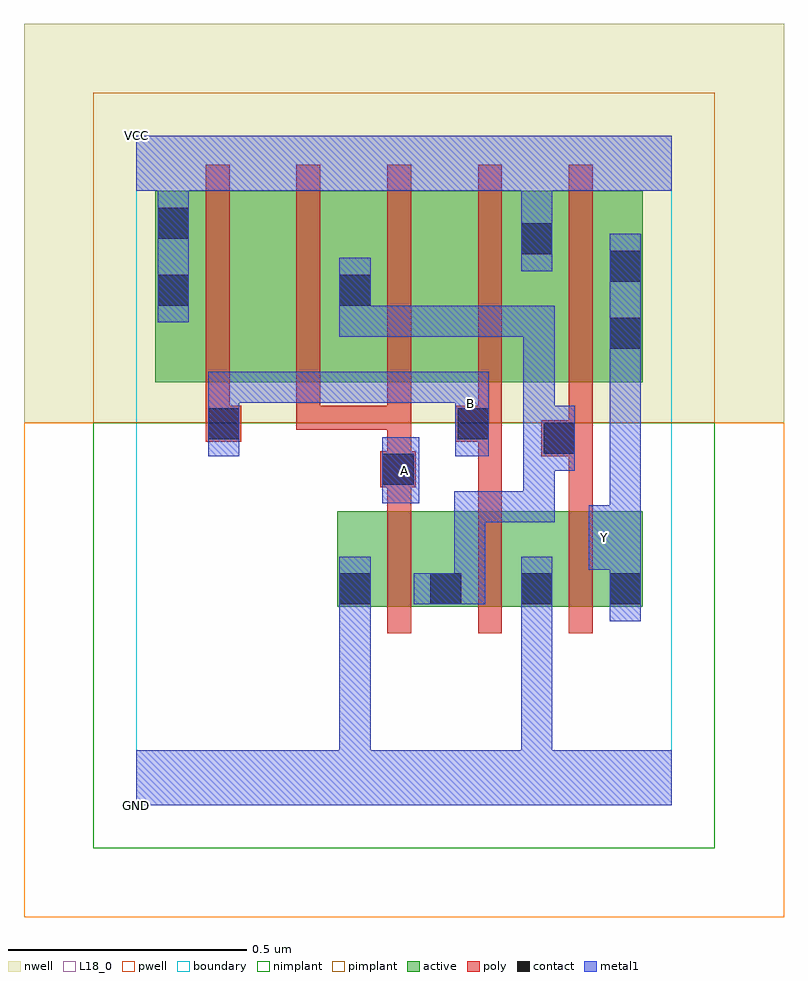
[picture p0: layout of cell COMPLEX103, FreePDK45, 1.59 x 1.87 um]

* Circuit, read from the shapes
.subckt COMPLEX103 A B GND VCC Y
M1 n1 A GND VSUBS nfet w=0.2u l=0.05u
M2 GND B n1 VSUBS nfet w=0.2u l=0.05u
M3 Y n1 GND VSUBS nfet w=0.2u l=0.05u
M4 n2 B VCC n3 pfet w=0.4u l=0.05u
M5 n1 A n2 n3 pfet w=0.4u l=0.05u
M6 n4 A n1 n3 pfet w=0.4u l=0.05u
M7 VCC B n4 n3 pfet w=0.4u l=0.05u
M8 Y n1 VCC n3 pfet w=0.4u l=0.05u
.ends

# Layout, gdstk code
import gdstk
lib = gdstk.Library(unit=1e-6, precision=1e-09)
def R(c, l, rs):  # rectangles x0, y0, x1, y1
    for r in rs: c.add(gdstk.rectangle(r[:2], r[2:], *l))
def A(c, l, x, y, w, h, nx, ny, dx, dy):  # array of equal rectangles
    R(c, l, [(x+i*dx, y+j*dy, x+i*dx+w, y+j*dy+h) for i in range(nx) for j in range(ny)])
active = (1, 0)
pwell = (2, 0)
nwell = (3, 0)
nimplant = (4, 0)
pimplant = (5, 0)
poly = (9, 0)
contact = (10, 0)
metal1 = (11, 0)
L18_0 = (18, 0)
boundary = (235, 0)

complex103 = lib.new_cell('COMPLEX103')
R(complex103, active, [(0.42,0.415,0.495,0.615), (0.42,0.415,0.685,0.615), (0.61,0.415,0.685,0.49), (0.61,0.415,0.875,0.615), (0.8,0.415,1.06,0.615), (0.8,0.415,0.875,0.49), (0.985,0.415,1.06,0.615), (0.04,0.885,0.265,1.285), (0.04,0.885,0.115,1.255), (0.265,0.885,0.495,1.285), (0.42,0.885,0.645,1.285), (0.645,0.885,0.875,1.285), (0.8,0.885,1.06,1.285), (0.985,0.885,1.06,1.2), (0.42,0.907,0.495,1.2), (0.8,0.907,0.875,1.255)])
R(complex103, pwell, [(-0.235,-0.235,1.355,0.8)])
R(complex103, nwell, [(-0.235,0.8,1.355,1.635)])
R(complex103, nimplant, [(-0.09,-0.09,1.21,0.8)])
R(complex103, pimplant, [(-0.09,0.8,1.21,1.49)])
A(complex103, poly, 0.525, 0.36, 0.05, 0.31, 3, 1, 0.19, 0)
A(complex103, poly, 0.145, 0.785, 0.05, 0.095, 4, 1, 0.19, 0)
A(complex103, poly, 0.145, 0.83, 0.05, 0.51, 5, 1, 0.19, 0)
R(complex103, poly, [(0.525,0.62,0.575,0.715), (0.715,0.62,0.765,0.81), (0.905,0.62,0.955,0.78), (0.51,0.665,0.585,0.74), (0.525,0.69,0.575,0.835), (0.847,0.73,0.955,0.805), (0.905,0.73,0.955,0.78), (0.905,0.73,0.955,0.78), (0.905,0.755,0.955,0.88), (0.145,0.76,0.22,0.835), (0.667,0.76,0.765,0.835), (0.715,0.76,0.765,0.81), (0.715,0.76,0.765,0.81), (0.335,0.785,0.385,0.835), (0.335,0.785,0.575,0.835), (0.525,0.785,0.575,0.835), (0.525,0.785,0.575,0.835), (0.525,0.785,0.575,0.835)])
A(complex103, contact, 0.425, 0.42, 0.065, 0.065, 3, 1, 0.19, 0)
R(complex103, contact, [(0.99,0.42,1.055,0.485), (0.515,0.67,0.58,0.735), (0.852,0.735,0.917,0.8), (0.15,0.765,0.215,0.83), (0.672,0.765,0.737,0.83), (0.99,0.955,1.055,1.02), (0.045,1.045,0.11,1.11), (0.425,1.045,0.49,1.11), (0.99,1.095,1.055,1.16), (0.805,1.152,0.87,1.217), (0.045,1.185,0.11,1.25)])
R(complex103, metal1, [(0,0,1.12,0.115), (0.425,0.05,0.49,0.115), (0.425,0.05,0.49,0.115), (0.425,0.05,0.49,0.115), (0.425,0.05,0.49,0.115), (0.425,0.05,0.49,0.115), (0.425,0.05,0.49,0.115), (0.425,0.05,0.49,0.45), (0.805,0.05,0.87,0.45), (0.425,0.385,0.49,0.52), (0.805,0.385,0.87,0.45), (0.805,0.385,0.87,0.45), (0.805,0.385,0.87,0.45), (0.805,0.385,0.87,0.45), (0.805,0.385,0.87,0.45), (0.805,0.385,0.87,0.45), (0.805,0.385,0.87,0.52), (0.99,0.385,1.055,0.52), (0.58,0.42,0.73,0.485), (0.665,0.42,0.73,0.657), (0.99,0.455,1.055,0.557), (0.947,0.492,1.055,0.627), (0.99,0.562,1.055,0.985), (0.665,0.592,0.73,0.657), (0.665,0.592,0.73,0.657), (0.665,0.592,0.73,0.657), (0.665,0.592,0.875,0.657), (0.81,0.592,0.875,0.765), (0.515,0.632,0.592,0.77), (0.81,0.7,0.875,0.765), (0.81,0.7,0.875,0.765), (0.81,0.7,0.917,0.765), (0.81,0.7,0.875,1.045), (0.852,0.7,0.917,0.835), (0.15,0.73,0.215,0.865), (0.667,0.73,0.737,0.907), (0.15,0.8,0.215,0.865), (0.15,0.8,0.215,0.907), (0.15,0.842,0.352,0.907), (0.287,0.842,0.352,0.907), (0.287,0.842,0.352,0.907), (0.287,0.842,0.352,0.907), (0.287,0.842,0.49,0.907), (0.425,0.842,0.49,0.907), (0.425,0.842,0.732,0.907), (0.667,0.842,0.732,0.907), (0.667,0.842,0.732,0.907), (0.99,0.92,1.055,0.985), (0.99,0.92,1.055,0.985), (0.99,0.92,1.055,1.195), (0.425,0.98,0.732,1.045), (0.425,0.98,0.49,1.075), (0.667,0.98,0.732,1.045), (0.667,0.98,0.732,1.045), (0.667,0.98,0.732,1.045), (0.667,0.98,0.875,1.045), (0.81,0.98,0.875,1.045), (0.045,1.01,0.11,1.285), (0.425,1.01,0.49,1.075), (0.425,1.01,0.49,1.145), (0.805,1.117,0.87,1.252), (0.805,1.187,0.87,1.35), (0.045,1.22,0.11,1.35), (0,1.285,1.12,1.4)])
R(complex103, L18_0, [(0,0,1.12,0.115), (0.425,0.05,0.49,0.115), (0.425,0.05,0.49,0.115), (0.425,0.05,0.49,0.115), (0.425,0.05,0.49,0.115), (0.425,0.05,0.49,0.115), (0.425,0.05,0.49,0.115), (0.425,0.05,0.49,0.45), (0.805,0.05,0.87,0.45), (0.425,0.385,0.49,0.52), (0.805,0.385,0.87,0.52), (0.805,0.385,0.87,0.45), (0.805,0.385,0.87,0.45), (0.805,0.385,0.87,0.45), (0.805,0.385,0.87,0.45), (0.805,0.385,0.87,0.45), (0.805,0.385,0.87,0.45), (0.99,0.385,1.055,0.52), (0.99,0.455,1.055,0.557), (0.947,0.492,1.055,0.627), (0.947,0.527,1.012,0.592), (0.99,0.562,1.055,0.985), (0.515,0.632,0.592,0.77), (0.527,0.667,0.592,0.732), (0.15,0.73,0.215,0.865), (0.667,0.73,0.737,0.907), (0.15,0.8,0.215,0.907), (0.15,0.8,0.215,0.865), (0.667,0.807,0.732,0.872), (0.15,0.842,0.352,0.907), (0.287,0.842,0.352,0.907), (0.287,0.842,0.352,0.907), (0.287,0.842,0.352,0.907), (0.287,0.842,0.49,0.907), (0.425,0.842,0.49,0.907), (0.425,0.842,0.732,0.907), (0.667,0.842,0.732,0.907), (0.667,0.842,0.732,0.907), (0.99,0.92,1.055,1.195), (0.99,0.92,1.055,0.985), (0.99,0.92,1.055,0.985), (0.045,1.01,0.11,1.285), (0.805,1.117,0.87,1.252), (0.805,1.187,0.87,1.35), (0.045,1.22,0.11,1.35), (0,1.285,1.12,1.4)])
R(complex103, boundary, [(0,0,1.12,1.4)])
complex103.add(gdstk.Label('A', (0.56,0.7), layer=11, texttype=0))
complex103.add(gdstk.Label('B', (0.7,0.84), layer=11, texttype=0))
complex103.add(gdstk.Label('Y', (0.98,0.56), layer=11, texttype=0))
complex103.add(gdstk.Label('VCC', (0,1.4), layer=11, texttype=0))
complex103.add(gdstk.Label('GND', (0,0), layer=11, texttype=0))

lib.write_gds('COMPLEX103.gds')
